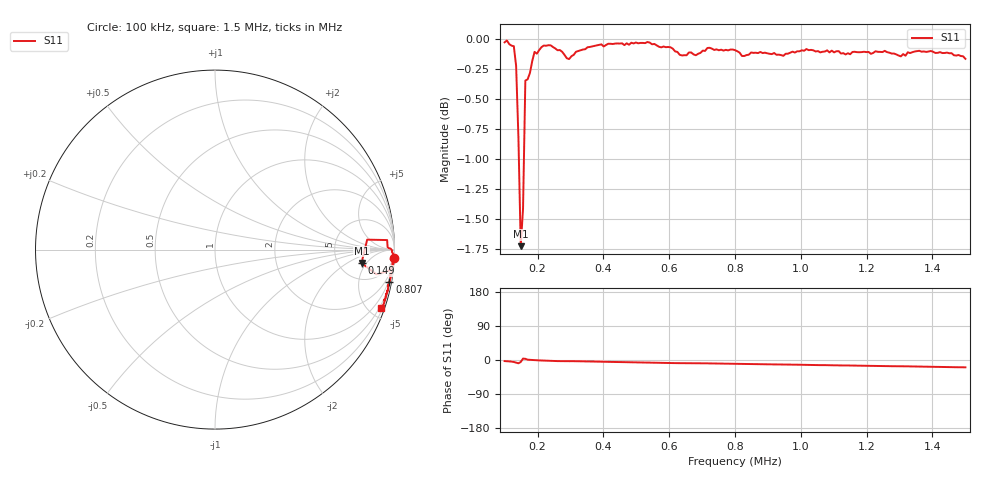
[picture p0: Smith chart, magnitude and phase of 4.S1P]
!Agilent Technologies,E5071C,MY46100305,A.07.02
!Date: Fri Jan 01 01:34:39 1988
!Data & Calibration Information:
!Freq	S11:SOLT1(ON)
# Hz S MA R 50
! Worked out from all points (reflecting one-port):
!   201 points, 100 kHz to 1.5 MHz, reference 50 ohm
!   lowest |S11| = -1.7 dB at 149 kHz (marker M1), VSWR 10.09, Z = 418 - j189 ohm
!   phase of S11 starts at -3 deg and turns -16 deg over the sweep
!   S11 on the Smith chart (normalised r, x): 100 kHz: 3, -40; 149 kHz: 8.35, -3.79; 807 kHz: 1, -11; 1.5 MHz: 0.34, -5.86
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100000  0.9964 -2.8
121000  0.9932 -4.2
128000  0.9927 -5.3
135000  0.9741 -7.0
142000  0.9093 -8.7
149000  0.8196 -5.2
156000  0.8496 3.7
163000  0.9606 3.2
170000  0.9617 0.8
184000  0.9788 0.3
191000  0.9873 -0.3
226000  0.9931 -2.0
275000  0.9874 -3.1
296000  0.9805 -3.2
324000  0.9881 -3.3
450000  0.9952 -5.4
534000  0.9967 -6.9
625000  0.9872 -8.3
681000  0.9841 -8.5
702000  0.9885 -8.7
800000  0.989 -10.3
807000  0.9879 -10.5
821000  0.9835 -10.6
975000  0.9875 -12.1
1059000  0.9868 -13.6
1150000  0.9851 -14.5
1325000  0.9869 -16.8
1500000  0.9808 -19.3
